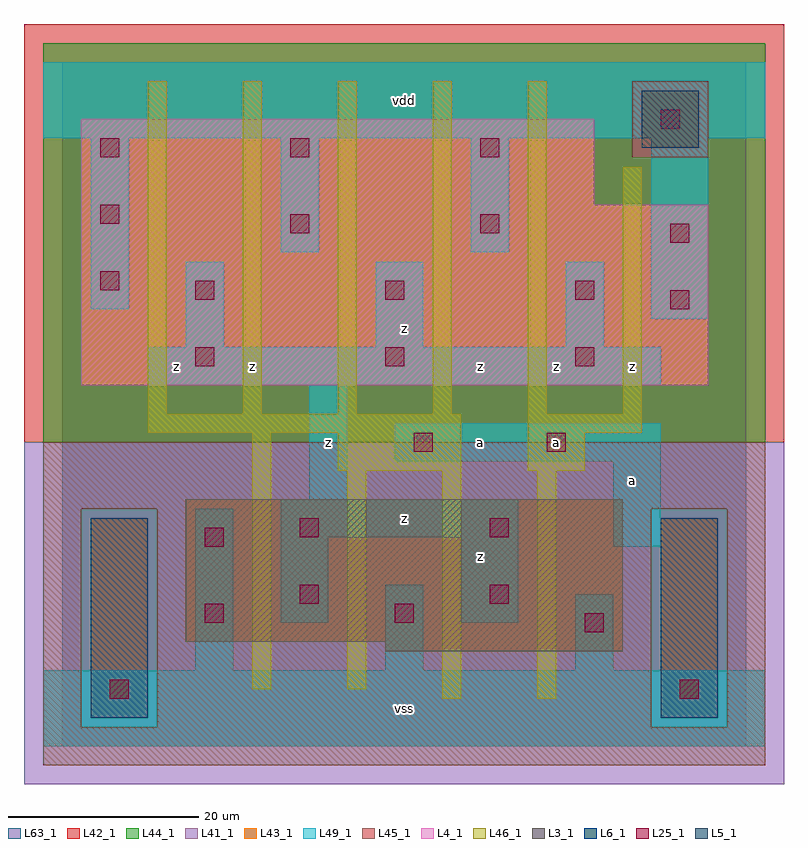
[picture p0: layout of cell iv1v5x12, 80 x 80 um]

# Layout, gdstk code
import gdstk
lib = gdstk.Library(unit=1e-6, precision=1e-09)
def R(c, l, rs):  # rectangles x0, y0, x1, y1
    for r in rs: c.add(gdstk.rectangle(r[:2], r[2:], *l))
def A(c, l, x, y, w, h, nx, ny, dx, dy):  # array of equal rectangles
    R(c, l, [(x+i*dx, y+j*dy, x+i*dx+w, y+j*dy+h) for i in range(nx) for j in range(ny)])
L3_1 = (3, 1)
L4_1 = (4, 1)
L5_1 = (5, 1)
L6_1 = (6, 1)
L25_1 = (25, 1)
L41_1 = (41, 1)
L42_1 = (42, 1)
L43_1 = (43, 1)
L44_1 = (44, 1)
L45_1 = (45, 1)
L46_1 = (46, 1)
L49_1 = (49, 1)
L63_1 = (63, 1)

iv1v5x12 = lib.new_cell('iv1v5x12')
R(iv1v5x12, L3_1, [(34,10,59,11), (13,11,59,26)])
R(iv1v5x12, L4_1, [(2,38,68,57), (2,57,56,66)])
R(iv1v5x12, L5_1, [(61,63,67,69)])
R(iv1v5x12, L6_1, [(3,3,9,24), (3,3,9,24), (63,3,69,24), (63,3,69,24)])
A(iv1v5x12, L25_1, 14, 40, 2, 2, 3, 2, 20, 7)
A(iv1v5x12, L25_1, 4, 62, 2, 2, 3, 1, 20, 0)
R(iv1v5x12, L25_1, [(5,5,7,7), (65,5,67,7), (55,12,57,14), (15,13,17,15), (35,13,37,15), (25,15,27,17), (45,15,47,17), (15,21,17,23), (25,22,27,24), (45,22,47,24), (37,31,39,33), (51,31,53,33), (64,46,66,48), (4,48,6,50), (64,53,66,55), (24,54,26,56), (44,54,46,56), (4,55,6,57), (63,65,65,67)])
R(iv1v5x12, L41_1, [(-4,-4,76,32)])
R(iv1v5x12, L42_1, [(-4,32,76,76)])
R(iv1v5x12, L43_1, [(3,3,9,24), (63,3,69,24), (34,10,59,11), (13,11,59,26), (2,38,68,57), (2,57,56,66), (61,63,67,69)])
R(iv1v5x12, L44_1, [(2,2,10,25), (62,2,70,25), (-2,32,74,62), (-2,62,60,70), (68,62,74,70), (-2,70,74,74)])
R(iv1v5x12, L45_1, [(-2,-2,74,2), (-2,2,2,25), (10,2,62,25), (70,2,74,25), (-2,25,74,32), (60,62,68,70)])
A(iv1v5x12, L46_1, 9, 35, 2, 35, 5, 1, 10, 0)
R(iv1v5x12, L46_1, [(40,5,42,29), (50,5,52,29), (20,6,22,33), (30,6,32,29), (29,29,42,33), (49,29,55,33), (9,33,42,35), (49,33,61,35), (59,35,61,61)])
R(iv1v5x12, L49_1, [(-2,0,74,8), (14,8,18,25), (34,8,38,17), (54,8,58,16), (23,13,28,22), (42,13,48,22), (58,21,63,30), (23,22,48,26), (26,26,30,38), (35,30,63,34), (9,38,63,42), (13,42,17,51), (33,42,38,51), (53,42,57,51), (62,45,68,64), (3,46,7,64), (23,52,27,64), (43,52,47,64), (-2,64,74,72)])
R(iv1v5x12, L63_1, [(0,0,72,72)])
iv1v5x12.add(gdstk.Label('z', (12,40), layer=49, texttype=1))
iv1v5x12.add(gdstk.Label('z', (28,32), layer=49, texttype=1))
iv1v5x12.add(gdstk.Label('z', (20,40), layer=49, texttype=1))
iv1v5x12.add(gdstk.Label('vss', (36,4), layer=49, texttype=1))
iv1v5x12.add(gdstk.Label('z', (44,20), layer=49, texttype=1))
iv1v5x12.add(gdstk.Label('z', (36,24), layer=49, texttype=1))
iv1v5x12.add(gdstk.Label('a', (44,32), layer=49, texttype=1))
iv1v5x12.add(gdstk.Label('a', (52,32), layer=49, texttype=1))
iv1v5x12.add(gdstk.Label('z', (44,40), layer=49, texttype=1))
iv1v5x12.add(gdstk.Label('z', (52,40), layer=49, texttype=1))
iv1v5x12.add(gdstk.Label('z', (36,44), layer=49, texttype=1))
iv1v5x12.add(gdstk.Label('vdd', (36,68), layer=49, texttype=1))
iv1v5x12.add(gdstk.Label('a', (60,28), layer=49, texttype=1))
iv1v5x12.add(gdstk.Label('z', (60,40), layer=49, texttype=1))

lib.write_gds('iv1v5x12.gds')
